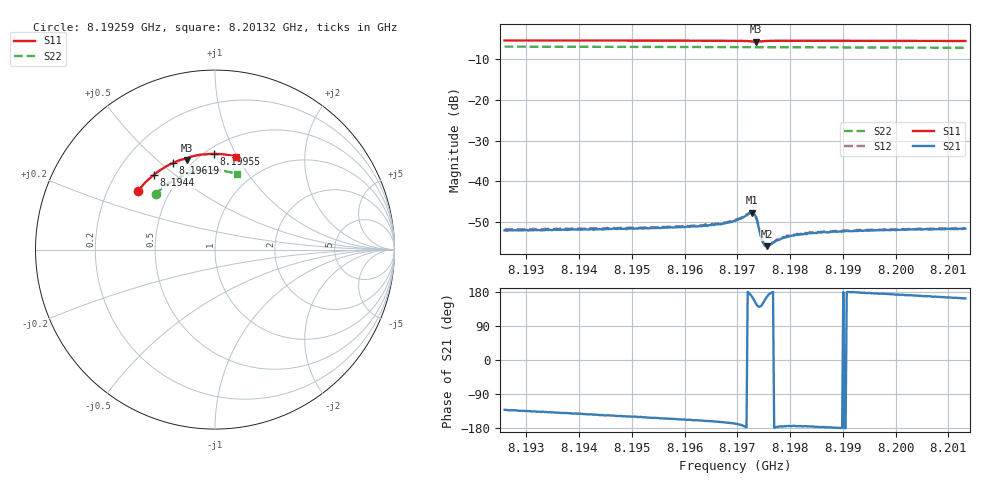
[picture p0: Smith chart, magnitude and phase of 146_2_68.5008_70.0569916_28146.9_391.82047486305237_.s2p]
#  HZ  S  RI  R  50.00
! Rohde & Schwarz Vector Network Analyzer
! Rohde-Schwarz,ZNB20-2Port,1311601062101988,3.16
! Created: UTC 3/20/2024, 5:10:13 PM
! freq[Hz]  re:S11  im:S11  re:S21  im:S21  re:S12  im:S12  re:S22  im:S22
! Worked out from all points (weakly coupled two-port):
!   401 points, 8.19259 GHz to 8.20132 GHz, reference 50 ohm
!   highest |S21| = -47.72 dB at 8.19728 GHz (marker M1); lowest = -55.9 dB at 8.19757 GHz (marker M2)
!   lowest |S11| = -5.7 dB at 8.19735 GHz (marker M3), VSWR 3.17, Z = 23 + j31.4 ohm
!   |S11| at or under -10 dB: nowhere
!   |S22| runs from -7.2 to -6.9 dB; largest |S21 - S12| = 0.00021
!   S11 on the Smith chart (normalised r, x): 8.19259 GHz: 0.33, +0.30; 8.1944 GHz: 0.36, +0.42; 8.19619 GHz: 0.40, +0.55; 8.19955 GHz: 0.55, +0.82; 8.20132 GHz: 0.68, +0.99
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8.192587e9  -0.4313 0.3241  -0.00166 -0.00187  -0.00177 -0.00187  -0.3313 0.3092
8.194051e9  -0.3612 0.3994  -0.00203 -0.00157  -0.00214 -0.00151  -0.2691 0.3621
8.1944e9  -0.3424 0.4154  -0.00214 -0.00145  -0.00222 -0.00143  -0.253 0.3732
8.195514e9  -0.2776 0.4601  -0.0024 -0.00121  -0.0025 -0.00112  -0.1981 0.4029
8.196191e9  -0.235 0.4825  -0.00262 -0.000997  -0.00271 -0.000928  -0.1628 0.4173
8.196715e9  -0.2 0.4971  -0.00289 -0.00083  -0.00301 -0.000723  -0.1347 0.4262
8.196955e9  -0.1823 0.5027  -0.00322 -0.00068  -0.00331 -0.00057  -0.1217 0.4298
8.197086e9  -0.1717 0.5048  -0.00351 -0.000497  -0.0036 -0.000358  -0.1144 0.4316
8.197217e9  -0.16 0.5039  -0.004 0.00018  -0.00405 0.000353  -0.107 0.4329
8.197283e9  -0.1554 0.5004  -0.00399 0.000997  -0.004 0.0012  -0.1036 0.4336
8.197326e9  -0.1552 0.4976  -0.00356 0.00165  -0.00355 0.00182  -0.1012 0.434
8.197348e9  -0.1561 0.4966  -0.00318 0.00185  -0.00317 0.00202  -0.1 0.4343
8.197479e9  -0.1574 0.5047  -0.00154 0.000943  -0.00153 0.00102  -0.0928 0.4358
8.197523e9  -0.1547 0.5077  -0.0015 0.000577  -0.00153 0.000641  -0.0905 0.4363
8.197567e9  -0.1514 0.5102  -0.00156 0.00033  -0.00158 0.000416  -0.0882 0.4367
8.197763e9  -0.1363 0.5167  -0.00188 -0.000109  -0.00195 -2.98e-05  -0.0773 0.4385
8.197894e9  -0.1266 0.5196  -0.00203 -0.000202  -0.00205 -9.71e-05  -0.0698 0.4396
8.198091e9  -0.1123 0.523  -0.00217 -0.000245  -0.0022 -0.000131  -0.0587 0.4409
8.198418e9  -0.0889 0.5274  -0.0023 -0.000175  -0.00237 -8.51e-05  -0.0402 0.4423
8.199554e9  -0.00811 0.5336  -0.0025 0.000178  -0.0025 0.00028  0.0242 0.4415
8.199882e9  0.0151 0.533  -0.00249 0.000276  -0.0025 0.00037  0.043 0.4395
8.201323e9  0.1158 0.5186  -0.0025 0.00079  -0.00251 0.000881  0.1229 0.4211
